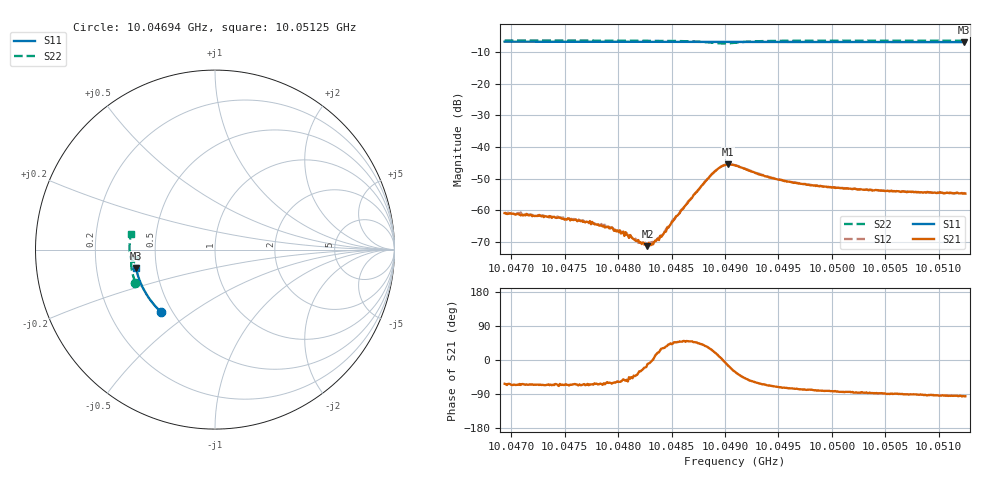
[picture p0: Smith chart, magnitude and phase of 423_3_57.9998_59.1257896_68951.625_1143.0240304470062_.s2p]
#  HZ  S  RI  R  50.00
! Rohde & Schwarz Vector Network Analyzer
! Rohde-Schwarz,ZNB20-2Port,1311601062101988,3.16
! Created: UTC 3/21/2024, 1:09:14 AM
! freq[Hz]  re:S11  im:S11  re:S21  im:S21  re:S12  im:S12  re:S22  im:S22
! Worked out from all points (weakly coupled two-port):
!   401 points, 10.04694 GHz to 10.05125 GHz, reference 50 ohm
!   highest |S21| = -45.52 dB at 10.04903 GHz (marker M1); lowest = -71.3 dB at 10.04827 GHz (marker M2)
!   lowest |S11| = -6.9 dB at 10.05124 GHz (marker M3), VSWR 2.65, Z = 19.1 - j4.93 ohm
!   |S11| at or under -10 dB: nowhere
!   |S22| runs from -7.3 to -6.4 dB; largest |S21 - S12| = 0.00038
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1.0046939e10  -0.3036 -0.3451  0.000411 -0.000802  0.000429 -0.000831  -0.4436 -0.1836
1.0047413e10  -0.3258 -0.3227  0.000344 -0.000685  0.000343 -0.000705  -0.4539 -0.1532
1.0047607e10  -0.3342 -0.3132  0.00031 -0.000646  0.000325 -0.000649  -0.4576 -0.1404
1.0047661e10  -0.3366 -0.3105  0.000277 -0.000624  0.000342 -0.000588  -0.4585 -0.1365
1.0047855e10  -0.3447 -0.3008  0.00023 -0.000507  0.000299 -0.000498  -0.4617 -0.1233
1.004793e10  -0.3481 -0.297  0.000258 -0.000452  0.000298 -0.000435  -0.4628 -0.118
1.0048103e10  -0.3551 -0.288  0.000257 -0.000261  0.000272 -0.000282  -0.4649 -0.1055
1.00482e10  -0.3588 -0.283  0.000267 -0.000153  0.000271 -0.000173  -0.4658 -0.0981
1.0048275e10  -0.3617 -0.2789  0.000266 -5.22e-05  0.000289 -3.75e-05  -0.4666 -0.0921
1.0048318e10  -0.3635 -0.2766  0.000295 -6.43e-06  0.000287 3.68e-05  -0.4665 -0.0887
1.0048383e10  -0.3659 -0.2732  0.000317 0.000118  0.000334 0.000163  -0.4668 -0.0832
1.0048426e10  -0.3675 -0.2709  0.000364 0.000223  0.000378 0.00027  -0.4668 -0.0795
1.0048523e10  -0.3712 -0.2655  0.000486 0.000515  0.000459 0.000536  -0.4661 -0.071
1.0048857e10  -0.3826 -0.2469  0.00293 0.00173  0.00281 0.00188  -0.4434 -0.0409
1.0048954e10  -0.3857 -0.2415  0.00471 0.000614  0.0047 0.000897  -0.4283 -0.0479
1.0049029e10  -0.3882 -0.2374  0.00512 -0.00135  0.00522 -0.000985  -0.4275 -0.0623
1.0049094e10  -0.3903 -0.2338  0.00438 -0.00262  0.00459 -0.00239  -0.4368 -0.0698
1.004946e10  -0.4019 -0.2128  0.00111 -0.00297  0.00128 -0.00292  -0.4701 -0.0445
1.0049816e10  -0.412 -0.1915  0.000499 -0.00244  0.000615 -0.00243  -0.4754 -0.0151
1.0050538e10  -0.4284 -0.1472  3.98e-06 -0.00199  0.000137 -0.00203  -0.4751 0.0365
1.0051238e10  -0.4402 -0.1029  -0.000183 -0.00184  -5.83e-05 -0.00187  -0.4688 0.0834
1.0051249e10  -0.4405 -0.1023  -0.000178 -0.00183  -6.9e-05 -0.00185  -0.4688 0.0841
